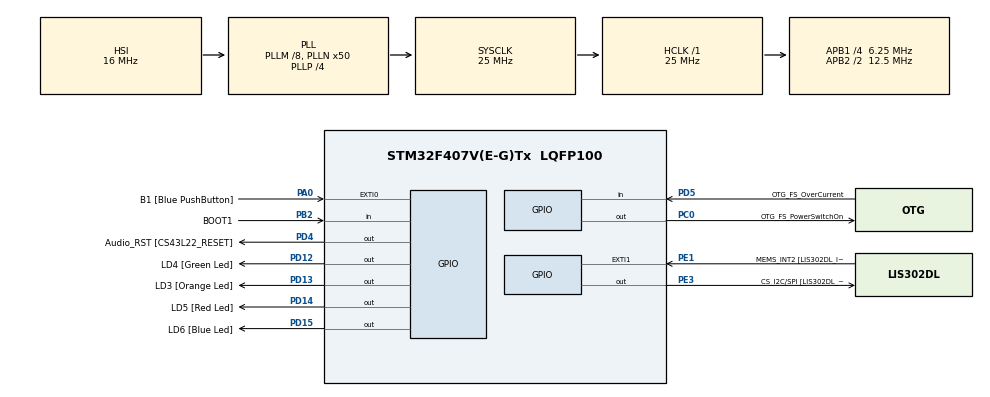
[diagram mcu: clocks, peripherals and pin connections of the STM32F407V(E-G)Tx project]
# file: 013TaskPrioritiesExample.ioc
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Mcu.Family=STM32F4
Mcu.Name=STM32F407V(E-G)Tx
Mcu.Package=LQFP100
NVIC.PriorityGroup=NVIC_PRIORITYGROUP_0
NVIC.TIM6_DAC_IRQn=true\:0\:0\:false\:false\:true\:false\:true\:true
NVIC.TimeBase=TIM6_DAC_IRQn
NVIC.TimeBaseIP=TIM6
PA0-WKUP.GPIO_Label=B1 [Blue PushButton]
PA0-WKUP.Signal=GPXTI0
PA10.GPIO_Label=OTG_FS_ID
PA10.GPIO_Mode=GPIO_MODE_AF_PP
PA10.GPIO_PuPd=GPIO_NOPULL
PA10.GPIO_Speed=GPIO_SPEED_FREQ_LOW
PA10.Signal=USB_OTG_FS_ID
PA11.GPIO_Label=OTG_FS_DM
PA11.GPIO_Mode=GPIO_MODE_AF_PP
PA11.GPIO_PuPd=GPIO_NOPULL
PA11.GPIO_Speed=GPIO_SPEED_FREQ_LOW
PA11.Signal=USB_OTG_FS_DM
PA12.GPIO_Label=OTG_FS_DP
PA12.GPIO_Mode=GPIO_MODE_AF_PP
PA12.GPIO_PuPd=GPIO_NOPULL
PA12.GPIO_Speed=GPIO_SPEED_FREQ_LOW
PA12.Signal=USB_OTG_FS_DP
PA13.GPIO_Label=SWDIO
PA13.Signal=SYS_JTMS-SWDIO
PA14.GPIO_Label=SWCLK
PA14.Signal=SYS_JTCK-SWCLK
PA4.GPIO_Label=I2S3_WS [CS43L22_LRCK]
PA4.GPIO_Mode=GPIO_MODE_AF_PP
PA4.GPIO_PuPd=GPIO_NOPULL
PA4.GPIO_Speed=GPIO_SPEED_FREQ_LOW
PA4.Signal=I2S3_WS
PA5.GPIO_Label=SPI1_SCK [LIS302DL_SCL/SPC]
PA5.GPIO_Mode=GPIO_MODE_AF_PP
PA5.GPIO_PuPd=GPIO_NOPULL
PA5.GPIO_Speed=GPIO_SPEED_FREQ_LOW
PA5.Signal=SPI1_SCK
PA6.GPIO_Label=SPI1_MISO [LIS302DL_SDO]
PA6.GPIO_Mode=GPIO_MODE_AF_PP
PA6.GPIO_PuPd=GPIO_NOPULL
PA6.GPIO_Speed=GPIO_SPEED_FREQ_LOW
PA6.Signal=SPI1_MISO
PA7.GPIO_Label=SPI1_MOSI [LIS302DL_SDA/SDI/SDO]
PA7.GPIO_Mode=GPIO_MODE_AF_PP
PA7.GPIO_PuPd=GPIO_NOPULL
PA7.GPIO_Speed=GPIO_SPEED_FREQ_LOW
PA7.Signal=SPI1_MOSI
PA9.GPIO_Label=VBUS_FS
PA9.GPIO_Mode=GPIO_MODE_INPUT
PA9.GPIO_PuPd=GPIO_NOPULL
PA9.Signal=USB_OTG_FS_VBUS
PB10.GPIO_Label=CLK_IN [MP45DT02_CLK]
PB10.GPIO_Mode=GPIO_MODE_AF_PP
PB10.GPIO_PuPd=GPIO_NOPULL
PB10.GPIO_Speed=GPIO_SPEED_FREQ_LOW
PB10.Signal=I2S2_CK
PB2.GPIO_Label=BOOT1
PB2.GPIO_Mode=GPIO_MODE_INPUT
PB2.GPIO_PuPd=GPIO_NOPULL
PB2.Signal=GPIO_Input
PB3.GPIO_Label=SWO
PB3.Signal=SYS_JTDO-SWO
PB6.GPIO_Label=Audio_SCL [CS43L22_SCL]
PB6.GPIO_Mode=GPIO_MODE_AF_OD
PB6.GPIO_PuPd=GPIO_NOPULL
PB6.GPIO_Speed=GPIO_SPEED_FREQ_LOW
PB6.Signal=I2C1_SCL
PB9.GPIO_Label=Audio_SDA [CS43L22_SDA]
PB9.GPIO_Mode=GPIO_MODE_AF_OD
PB9.GPIO_PuPd=GPIO_NOPULL
PB9.GPIO_Speed=GPIO_SPEED_FREQ_LOW
PB9.Signal=I2C1_SDA
PC0.GPIO_Label=OTG_FS_PowerSwitchOn
PC0.GPIO_PuPd=GPIO_NOPULL
PC0.GPIO_Speed=GPIO_SPEED_FREQ_LOW
PC0.PinState=GPIO_PIN_SET
PC0.Signal=GPIO_Output
PC10.GPIO_Label=I2S3_SCK [CS43L22_SCLK]
PC10.GPIO_Mode=GPIO_MODE_AF_PP
PC10.GPIO_PuPd=GPIO_NOPULL
PC10.GPIO_Speed=GPIO_SPEED_FREQ_LOW
PC10.Signal=I2S3_CK
PC12.GPIO_Label=I2S3_SD [CS43L22_SDIN]
PC12.GPIO_Mode=GPIO_MODE_AF_PP
PC12.GPIO_PuPd=GPIO_NOPULL
PC12.GPIO_Speed=GPIO_SPEED_FREQ_LOW
PC12.Signal=I2S3_SD
PC14-OSC32_IN.GPIO_Label=PC14-OSC32_IN
PC14-OSC32_IN.Signal=RCC_OSC32_IN
PC15-OSC32_OUT.GPIO_Label=PC15-OSC32_OUT
PC15-OSC32_OUT.Signal=RCC_OSC32_OUT
PC3.GPIO_Label=PDM_OUT [MP45DT02_DOUT]
PC3.GPIO_Mode=GPIO_MODE_AF_PP
PC3.GPIO_PuPd=GPIO_NOPULL
PC3.GPIO_Speed=GPIO_SPEED_FREQ_LOW
PC3.Signal=I2S2_SD
PC7.GPIO_Label=I2S3_MCK [CS43L22_MCLK]
PC7.GPIO_Mode=GPIO_MODE_AF_PP
PC7.GPIO_PuPd=GPIO_NOPULL
PC7.GPIO_Speed=GPIO_SPEED_FREQ_LOW
PC7.Signal=I2S3_MCK
PD12.GPIO_Label=LD4 [Green Led]
PD12.GPIO_PuPd=GPIO_NOPULL
PD12.GPIO_Speed=GPIO_SPEED_FREQ_LOW
PD12.Signal=GPIO_Output
PD13.GPIO_Label=LD3 [Orange Led]
PD13.GPIO_PuPd=GPIO_NOPULL
PD13.GPIO_Speed=GPIO_SPEED_FREQ_LOW
PD13.Signal=GPIO_Output
PD14.GPIO_Label=LD5 [Red Led]
PD14.GPIO_PuPd=GPIO_NOPULL
PD14.GPIO_Speed=GPIO_SPEED_FREQ_LOW
PD14.Signal=GPIO_Output
PD15.GPIO_Label=LD6 [Blue Led]
PD15.GPIO_PuPd=GPIO_NOPULL
PD15.GPIO_Speed=GPIO_SPEED_FREQ_LOW
PD15.Signal=GPIO_Output
PD4.GPIO_Label=Audio_RST [CS43L22_RESET]
PD4.GPIO_PuPd=GPIO_NOPULL
PD4.GPIO_Speed=GPIO_SPEED_FREQ_LOW
PD4.Signal=GPIO_Output
PD5.GPIO_Label=OTG_FS_OverCurrent
PD5.GPIO_Mode=GPIO_MODE_INPUT
PD5.GPIO_PuPd=GPIO_NOPULL
PD5.Signal=GPIO_Input
PE1.GPIO_Label=MEMS_INT2 [LIS302DL_INT2]
PE1.GPIO_ModeDefaultEXTI=GPIO_MODE_EVT_RISING
PE1.GPIO_PuPd=GPIO_NOPULL
PE1.Signal=GPXTI1
PE3.GPIO_Label=CS_I2C/SPI [LIS302DL_CS_I2C/SPI]
PE3.GPIO_PuPd=GPIO_NOPULL
PE3.GPIO_Speed=GPIO_SPEED_FREQ_LOW
PE3.Signal=GPIO_Output
PH0-OSC_IN.GPIO_Label=PH0-OSC_IN
PH0-OSC_IN.Signal=RCC_OSC_IN
PH1-OSC_OUT.GPIO_Label=PH1-OSC_OUT
PH1-OSC_OUT.Signal=RCC_OSC_OUT
ProjectManager.HeapSize=0x200
ProjectManager.StackSize=0x400
ProjectManager.TargetToolchain=STM32CubeIDE
RCC.48MHZClocksFreq_Value=14285714.285714285
RCC.AHBFreq_Value=25000000
RCC.APB1CLKDivider=RCC_HCLK_DIV4
RCC.APB1Freq_Value=6250000
RCC.APB1TimFreq_Value=12500000
RCC.APB2CLKDivider=RCC_HCLK_DIV2
RCC.APB2Freq_Value=12500000
RCC.APB2TimFreq_Value=25000000
RCC.CortexFreq_Value=25000000
RCC.HCLKFreq_Value=25000000
RCC.HSE_VALUE=8000000
RCC.HSI_VALUE=16000000
RCC.LSE_VALUE=32768
RCC.PLLM=8
RCC.PLLN=50
RCC.PLLP=RCC_PLLP_DIV4
RCC.PLLQ=7
RCC.SYSCLKFreq_VALUE=25000000
RCC.SYSCLKSource=RCC_SYSCLKSOURCE_PLLCLK
RCC.VCOOutputFreq_Value=100000000
VP_SYS_VS_tim6.Mode=TIM6
board=STM32F407G-DISC1

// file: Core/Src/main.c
/* USER CODE BEGIN Header */
/**
  ******************************************************************************
  * @file           : main.c
  * @brief          : Main program body
  ******************************************************************************
  * @attention
  *
  * Copyright (c) 2024 STMicroelectronics.
  * All rights reserved.
  *
  * This software is licensed under terms that can be found in the LICENSE file
  * in the root directory of this software component.
  * If no LICENSE file comes with this software, it is provided AS-IS.
  *
  ******************************************************************************
  */
/* USER CODE END Header */
#include "main.h"

/* USER CODE BEGIN Includes */
#include <stdint.h>
#include <stdlib.h>
#include "FreeRTOS.h"
#include "task.h"
/* USER CODE END Includes */

/* USER CODE BEGIN PD */
#define DWT_CTRL					(*(volatile uint32_t *) 0xE0001000U)

#define MAX_DELAY_COUNT				100000
#define MIN_DELAY_COUNT				10000
#define TASK1_SLEEP_INTERVAL		50
/* USER CODE END PD */

/* USER CODE BEGIN PV */
TaskHandle_t task_1_handle;
TaskHandle_t task_2_handle;
TaskHandle_t task_3_handle;

/* USER CODE END PV */

void SystemClock_Config(void);
static void MX_GPIO_Init(void);
/* USER CODE BEGIN PFP */
static void task_1(void *params);
static void task_2(void *params);
static void task_3(void *params);
static void delay(uint32_t count);
static uint32_t get_delay_count(void);
/* USER CODE END PFP */

int main(void)
{
  /* USER CODE BEGIN 1 */
	BaseType_t status;

  /* USER CODE END 1 */

  /* MCU Configuration--------------------------------------------------------*/

  /* Reset of all peripherals, Initializes the Flash interface and the Systick. */
  HAL_Init();

  /* Configure the system clock */
  SystemClock_Config();

  /* Initialize all configured peripherals */
  MX_GPIO_Init();
  /* USER CODE BEGIN 2 */
  //Enable the DWT (Data Watch Point) Cycle Count Feature
  DWT_CTRL |= (1 << 0);

  //Enabling SEGGER SYSVIEW event tracing
  SEGGER_SYSVIEW_Conf();
  SEGGER_SYSVIEW_Start();

  status = xTaskCreate(task_1,"task_1",1024,NULL,3,&task_1_handle);
  configASSERT(status == pdPASS);

  status = xTaskCreate(task_2,"task_2",1024,NULL,2,&task_2_handle);
  configASSERT(status == pdPASS);

  status = xTaskCreate(task_3,"task_3",1024,NULL,2,&task_3_handle);
  configASSERT(status == pdPASS);

  vTaskStartScheduler();
  /* USER CODE END 2 */

  /* Infinite loop */
  while (1)
  {

  }
}

void SystemClock_Config(void)
{
  RCC_OscInitTypeDef RCC_OscInitStruct = {0};
  RCC_ClkInitTypeDef RCC_ClkInitStruct = {0};

  /** Configure the main internal regulator output voltage
  */
  __HAL_RCC_PWR_CLK_ENABLE();
  __HAL_PWR_VOLTAGESCALING_CONFIG(PWR_REGULATOR_VOLTAGE_SCALE1);

  /** Initializes the RCC Oscillators according to the specified parameters
  * in the RCC_OscInitTypeDef structure.
  */
  RCC_OscInitStruct.OscillatorType = RCC_OSCILLATORTYPE_HSI;
  RCC_OscInitStruct.HSIState = RCC_HSI_ON;
  RCC_OscInitStruct.HSICalibrationValue = RCC_HSICALIBRATION_DEFAULT;
  RCC_OscInitStruct.PLL.PLLState = RCC_PLL_ON;
  RCC_OscInitStruct.PLL.PLLSource = RCC_PLLSOURCE_HSI;
  RCC_OscInitStruct.PLL.PLLM = 8;
  RCC_OscInitStruct.PLL.PLLN = 50;
  RCC_OscInitStruct.PLL.PLLP = RCC_PLLP_DIV4;
  RCC_OscInitStruct.PLL.PLLQ = 7;
  if (HAL_RCC_OscConfig(&RCC_OscInitStruct) != HAL_OK)
  {
    Error_Handler();
  }

  /** Initializes the CPU, AHB and APB buses clocks
  */
  RCC_ClkInitStruct.ClockType = RCC_CLOCKTYPE_HCLK|RCC_CLOCKTYPE_SYSCLK
                              |RCC_CLOCKTYPE_PCLK1|RCC_CLOCKTYPE_PCLK2;
  RCC_ClkInitStruct.SYSCLKSource = RCC_SYSCLKSOURCE_PLLCLK;
  RCC_ClkInitStruct.AHBCLKDivider = RCC_SYSCLK_DIV1;
  RCC_ClkInitStruct.APB1CLKDivider = RCC_HCLK_DIV4;
  RCC_ClkInitStruct.APB2CLKDivider = RCC_HCLK_DIV2;

  if (HAL_RCC_ClockConfig(&RCC_ClkInitStruct, FLASH_LATENCY_0) != HAL_OK)
  {
    Error_Handler();
  }
}

static void MX_GPIO_Init(void)
{
  GPIO_InitTypeDef GPIO_InitStruct = {0};

  /* GPIO Ports Clock Enable */
  __HAL_RCC_GPIOE_CLK_ENABLE();
  __HAL_RCC_GPIOC_CLK_ENABLE();
  __HAL_RCC_GPIOH_CLK_ENABLE();
  __HAL_RCC_GPIOA_CLK_ENABLE();
  __HAL_RCC_GPIOB_CLK_ENABLE();
  __HAL_RCC_GPIOD_CLK_ENABLE();

  /*Configure GPIO pin Output Level */
  HAL_GPIO_WritePin(CS_I2C_SPI_GPIO_Port, CS_I2C_SPI_Pin, GPIO_PIN_RESET);

  /*Configure GPIO pin Output Level */
  HAL_GPIO_WritePin(OTG_FS_PowerSwitchOn_GPIO_Port, OTG_FS_PowerSwitchOn_Pin, GPIO_PIN_SET);

  /*Configure GPIO pin Output Level */
  HAL_GPIO_WritePin(GPIOD, LD4_Pin|LD3_Pin|LD5_Pin|LD6_Pin
                          |Audio_RST_Pin, GPIO_PIN_RESET);

  /*Configure GPIO pin : CS_I2C_SPI_Pin */
  GPIO_InitStruct.Pin = CS_I2C_SPI_Pin;
  GPIO_InitStruct.Mode = GPIO_MODE_OUTPUT_PP;
  GPIO_InitStruct.Pull = GPIO_NOPULL;
  GPIO_InitStruct.Speed = GPIO_SPEED_FREQ_LOW;
  HAL_GPIO_Init(CS_I2C_SPI_GPIO_Port, &GPIO_InitStruct);

  /*Configure GPIO pin : OTG_FS_PowerSwitchOn_Pin */
  GPIO_InitStruct.Pin = OTG_FS_PowerSwitchOn_Pin;
  GPIO_InitStruct.Mode = GPIO_MODE_OUTPUT_PP;
  GPIO_InitStruct.Pull = GPIO_NOPULL;
  GPIO_InitStruct.Speed = GPIO_SPEED_FREQ_LOW;
  HAL_GPIO_Init(OTG_FS_PowerSwitchOn_GPIO_Port, &GPIO_InitStruct);

  /*Configure GPIO pin : PDM_OUT_Pin */
  GPIO_InitStruct.Pin = PDM_OUT_Pin;
  GPIO_InitStruct.Mode = GPIO_MODE_AF_PP;
  GPIO_InitStruct.Pull = GPIO_NOPULL;
  GPIO_InitStruct.Speed = GPIO_SPEED_FREQ_LOW;
  GPIO_InitStruct.Alternate = GPIO_AF5_SPI2;
  HAL_GPIO_Init(PDM_OUT_GPIO_Port, &GPIO_InitStruct);

  /*Configure GPIO pin : B1_Pin */
  GPIO_InitStruct.Pin = B1_Pin;
  GPIO_InitStruct.Mode = GPIO_MODE_IT_RISING;
  GPIO_InitStruct.Pull = GPIO_NOPULL;
  HAL_GPIO_Init(B1_GPIO_Port, &GPIO_InitStruct);

  /*Configure GPIO pin : I2S3_WS_Pin */
  GPIO_InitStruct.Pin = I2S3_WS_Pin;
  GPIO_InitStruct.Mode = GPIO_MODE_AF_PP;
  GPIO_InitStruct.Pull = GPIO_NOPULL;
  GPIO_InitStruct.Speed = GPIO_SPEED_FREQ_LOW;
  GPIO_InitStruct.Alternate = GPIO_AF6_SPI3;
  HAL_GPIO_Init(I2S3_WS_GPIO_Port, &GPIO_InitStruct);

  /*Configure GPIO pins : SPI1_SCK_Pin SPI1_MISO_Pin SPI1_MOSI_Pin */
  GPIO_InitStruct.Pin = SPI1_SCK_Pin|SPI1_MISO_Pin|SPI1_MOSI_Pin;
  GPIO_InitStruct.Mode = GPIO_MODE_AF_PP;
  GPIO_InitStruct.Pull = GPIO_NOPULL;
  GPIO_InitStruct.Speed = GPIO_SPEED_FREQ_LOW;
  GPIO_InitStruct.Alternate = GPIO_AF5_SPI1;
  HAL_GPIO_Init(GPIOA, &GPIO_InitStruct);

  /*Configure GPIO pin : BOOT1_Pin */
  GPIO_InitStruct.Pin = BOOT1_Pin;
  GPIO_InitStruct.Mode = GPIO_MODE_INPUT;
  GPIO_InitStruct.Pull = GPIO_NOPULL;
  HAL_GPIO_Init(BOOT1_GPIO_Port, &GPIO_InitStruct);

  /*Configure GPIO pin : CLK_IN_Pin */
  GPIO_InitStruct.Pin = CLK_IN_Pin;
  GPIO_InitStruct.Mode = GPIO_MODE_AF_PP;
  GPIO_InitStruct.Pull = GPIO_NOPULL;
  GPIO_InitStruct.Speed = GPIO_SPEED_FREQ_LOW;
  GPIO_InitStruct.Alternate = GPIO_AF5_SPI2;
  HAL_GPIO_Init(CLK_IN_GPIO_Port, &GPIO_InitStruct);

  /*Configure GPIO pins : LD4_Pin LD3_Pin LD5_Pin LD6_Pin
                           Audio_RST_Pin */
  GPIO_InitStruct.Pin = LD4_Pin|LD3_Pin|LD5_Pin|LD6_Pin
                          |Audio_RST_Pin;
  GPIO_InitStruct.Mode = GPIO_MODE_OUTPUT_PP;
  GPIO_InitStruct.Pull = GPIO_NOPULL;
  GPIO_InitStruct.Speed = GPIO_SPEED_FREQ_LOW;
  HAL_GPIO_Init(GPIOD, &GPIO_InitStruct);

  /*Configure GPIO pins : I2S3_MCK_Pin I2S3_SCK_Pin I2S3_SD_Pin */
  GPIO_InitStruct.Pin = I2S3_MCK_Pin|I2S3_SCK_Pin|I2S3_SD_Pin;
  GPIO_InitStruct.Mode = GPIO_MODE_AF_PP;
  GPIO_InitStruct.Pull = GPIO_NOPULL;
  GPIO_InitStruct.Speed = GPIO_SPEED_FREQ_LOW;
  GPIO_InitStruct.Alternate = GPIO_AF6_SPI3;
  HAL_GPIO_Init(GPIOC, &GPIO_InitStruct);

  /*Configure GPIO pin : VBUS_FS_Pin */
  GPIO_InitStruct.Pin = VBUS_FS_Pin;
  GPIO_InitStruct.Mode = GPIO_MODE_INPUT;
  GPIO_InitStruct.Pull = GPIO_NOPULL;
  HAL_GPIO_Init(VBUS_FS_GPIO_Port, &GPIO_InitStruct);

  /*Configure GPIO pins : OTG_FS_ID_Pin OTG_FS_DM_Pin OTG_FS_DP_Pin */
  GPIO_InitStruct.Pin = OTG_FS_ID_Pin|OTG_FS_DM_Pin|OTG_FS_DP_Pin;
  GPIO_InitStruct.Mode = GPIO_MODE_AF_PP;
  GPIO_InitStruct.Pull = GPIO_NOPULL;
  GPIO_InitStruct.Speed = GPIO_SPEED_FREQ_LOW;
  GPIO_InitStruct.Alternate = GPIO_AF10_OTG_FS;
  HAL_GPIO_Init(GPIOA, &GPIO_InitStruct);

  /*Configure GPIO pin : OTG_FS_OverCurrent_Pin */
  GPIO_InitStruct.Pin = OTG_FS_OverCurrent_Pin;
  GPIO_InitStruct.Mode = GPIO_MODE_INPUT;
  GPIO_InitStruct.Pull = GPIO_NOPULL;
  HAL_GPIO_Init(OTG_FS_OverCurrent_GPIO_Port, &GPIO_InitStruct);

  /*Configure GPIO pins : Audio_SCL_Pin Audio_SDA_Pin */
  GPIO_InitStruct.Pin = Audio_SCL_Pin|Audio_SDA_Pin;
  GPIO_InitStruct.Mode = GPIO_MODE_AF_OD;
  GPIO_InitStruct.Pull = GPIO_NOPULL;
  GPIO_InitStruct.Speed = GPIO_SPEED_FREQ_LOW;
  GPIO_InitStruct.Alternate = GPIO_AF4_I2C1;
  HAL_GPIO_Init(GPIOB, &GPIO_InitStruct);

  /*Configure GPIO pin : MEMS_INT2_Pin */
  GPIO_InitStruct.Pin = MEMS_INT2_Pin;
  GPIO_InitStruct.Mode = GPIO_MODE_EVT_RISING;
  GPIO_InitStruct.Pull = GPIO_NOPULL;
  HAL_GPIO_Init(MEMS_INT2_GPIO_Port, &GPIO_InitStruct);

}

/* USER CODE BEGIN 4 */
static void task_1(void *params)
{
	static uint32_t task_run_time;

	while(1)
	{
		task_run_time = get_delay_count();
		SEGGER_SYSVIEW_PrintfHost("Task 1: Spinning for %d iterations",task_run_time);
		delay(task_run_time);
		SEGGER_SYSVIEW_PrintfHost("Task 1: Spinning Completed");
		SEGGER_SYSVIEW_PrintfHost("Task 1: Going to sleep for %d ticks",TASK1_SLEEP_INTERVAL);
		vTaskDelay(TASK1_SLEEP_INTERVAL);
		SEGGER_SYSVIEW_PrintfHost("Task 1: Waked up from sleep");
	}
}

static void task_2(void *params)
{
	while(1)
	{

	}
}

static void task_3(void *params)
{
	while(1)
	{

	}
}

static void delay(uint32_t count)
{
	uint32_t i;

	for(i=0;i<count;i++)
	{

	}
}

static uint32_t get_delay_count(void)
{
	return ((rand() + MIN_DELAY_COUNT) % MAX_DELAY_COUNT);
}

/* USER CODE END 4 */

void HAL_TIM_PeriodElapsedCallback(TIM_HandleTypeDef *htim)
{
  if (htim->Instance == TIM6) {
    HAL_IncTick();
  }
}

void Error_Handler(void)
{
  __disable_irq();
  while (1)
  {
  }
}
